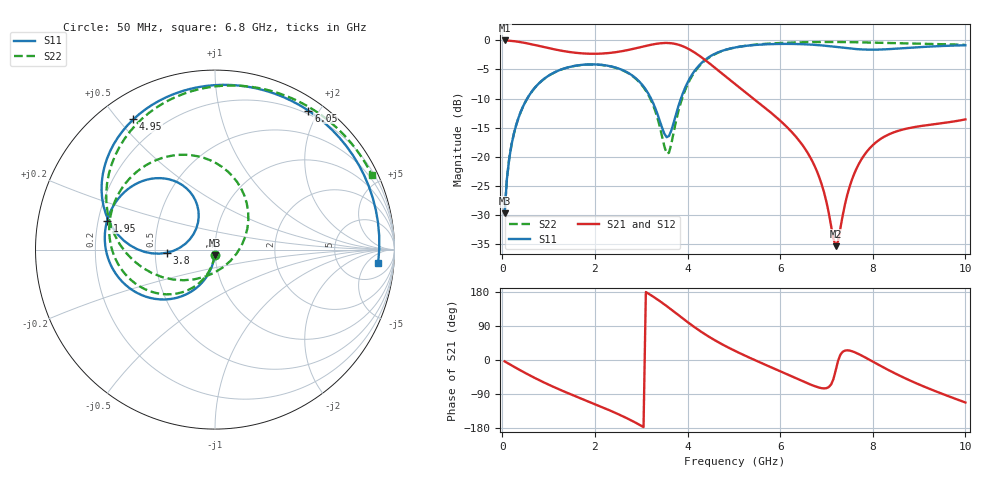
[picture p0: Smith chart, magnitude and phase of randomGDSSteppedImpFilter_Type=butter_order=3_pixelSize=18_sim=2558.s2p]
! freq	dB(S11)	phase(S11)	dB(S12)	phase(S12)
!  dB(S21)	phase(S21)	dB(S22)	phase(S22)
!S-par simulation data
#  GHz  S  DB  R 50
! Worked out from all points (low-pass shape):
!   200 points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, 50 MHz to 10 GHz, reference 50 ohm
!   highest |S21| = -0.01 dB at 50 MHz (marker M1); lowest = -35.4 dB at 7.2 GHz (marker M2)
!   |S21| within 3 dB of the highest: start of sweep to 4.32 GHz
!   lowest |S11| = -29.7 dB at 50 MHz (marker M3), VSWR 1.07, Z = 49.7 - j3.24 ohm
!   |S11| at or under -10 dB: start of sweep to 538 MHz; 3.211 GHz to 3.857 GHz (645.8 MHz wide, 18.3 % of centre)
!   |S22| runs from -29.7 to -0.3 dB; largest |S21 - S12| = 0
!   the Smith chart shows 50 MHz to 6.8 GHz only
!   S11 on the Smith chart (normalised r, x): 50 MHz: 0.99, -0.06; 1.95 GHz: 0.24, +0.12; 3.8 GHz: 0.58, -0.02; 4.95 GHz: 0.10, +0.55; 6.05 GHz: 0.16, +1.87; 6.8 GHz: 12, -11
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0.05  -29.73 -93.5  -0.01 -3.6  -0.01 -3.6  -29.74 -94.0
0.2  -17.89 -103.8  -0.09 -14.2  -0.09 -14.2  -17.89 -105.5
0.5  -10.53 -122.8  -0.45 -34.5  -0.45 -34.5  -10.54 -127.2
1.05  -5.82 -153.7  -1.41 -67.8  -1.41 -67.8  -5.83 -163.0
1.75  -4.18 173.6  -2.25 -104.2  -2.25 -104.2  -4.20 157.2
1.95  -4.12 164.9  -2.30 -114.1  -2.30 -114.1  -4.14 146.1
2.75  -5.73 129.7  -1.59 -157.3  -1.59 -157.3  -5.79 96.7
3.4  -13.79 116.3  -0.51 155.5  -0.51 155.5  -14.78 22.7
3.6  -16.42 157.3  -0.46 137.7  -0.46 137.7  -19.29 -66.1
3.8  -11.38 -176.2  -0.73 118.9  -0.73 118.9  -12.24 -135.7
4.35  -3.53 158.8  -3.19 70.1  -3.19 70.1  -3.65 157.1
4.95  -1.34 122.1  -7.01 28.6  -7.01 28.6  -1.36 112.8
5.05  -1.18 116.3  -7.65 22.6  -7.65 22.6  -1.19 106.8
6.05  -0.60 56.1  -14.15 -32.4  -14.15 -32.4  -0.43 56.6
6.7  -0.74 4.9  -20.84 -66.9  -20.84 -66.9  -0.29 29.6
6.8  -0.80 -4.6  -22.60 -71.3  -22.60 -71.3  -0.28 25.6
7.2  -1.12 -48.2  -35.35 -27.1  -35.35 -27.1  -0.27 10.4
7.7  -1.52 -112.5  -21.21 15.4  -21.21 15.4  -0.33 -7.5
8.05  -1.59 -157.4  -17.64 -7.6  -17.64 -7.6  -0.39 -19.2
8.35  -1.50 168.2  -16.14 -27.2  -16.14 -27.2  -0.44 -28.8
9.1  -1.12 101.5  -14.64 -69.8  -14.64 -69.8  -0.56 -51.6
10  -0.84 43.5  -13.57 -112.1  -13.57 -112.1  -0.78 -78.7
